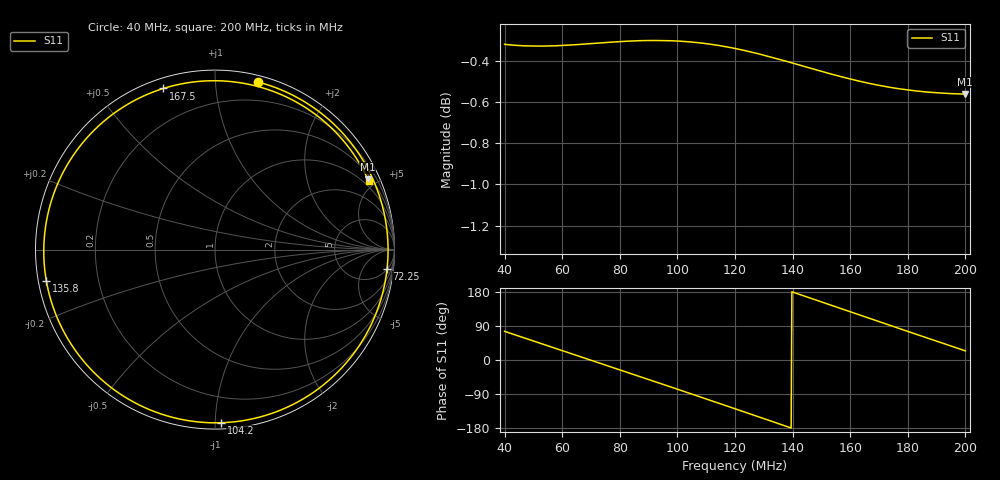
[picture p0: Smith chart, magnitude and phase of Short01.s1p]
# Hz S RI R 50
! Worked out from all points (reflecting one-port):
!   641 points, 40 MHz to 200 MHz, reference 50 ohm
!   lowest |S11| = -0.6 dB at 199.8 MHz (marker M1), VSWR 30.97, Z = 34.5 + j223 ohm
!   phase of S11 starts at 76 deg and turns -412 deg over the sweep
!   S11 on the Smith chart (normalised r, x): 40 MHz: 0.05, +1.29; 72.25 MHz: 5, -16; 104.2 MHz: 0.04, -1.04; 135.8 MHz: 0.02, -0.09; 167.5 MHz: 0.05, +0.73; 200 MHz: 0.73, +4.58
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4e7  0.2393 0.9338
4.925e7  0.5923 0.7593
5.475e7  0.7582 0.5938
6e7  0.8749 0.4032
6.625e7  0.9523 0.1491
7.225e7  0.9587 -0.1061
8e7  0.8677 -0.4231
8.5e7  0.7536 -0.604
9.05e7  0.5849 -0.7687
9.525e7  0.4102 -0.8745
1e8  0.2165 -0.9411
1.0425e8  0.0344 -0.9646
1.12e8  -0.2968 -0.917
1.2e8  -0.6006 -0.7511
1.2825e8  -0.8309 -0.4784
1.3575e8  -0.94 -0.1725
1.4e8  -0.9538 0.0113
1.4475e8  -0.9271 0.2151
1.495e8  -0.8576 0.408
1.545e8  -0.7419 0.5895
1.6e8  -0.5719 0.7528
1.675e8  -0.2874 0.8979
1.7375e8  -0.0257 0.9407
1.8e8  0.2364 0.9094
1.89e8  0.5742 0.742
1.9475e8  0.7438 0.5711
1.9975e8  0.8516 0.3919
2e8  0.8559 0.3824
